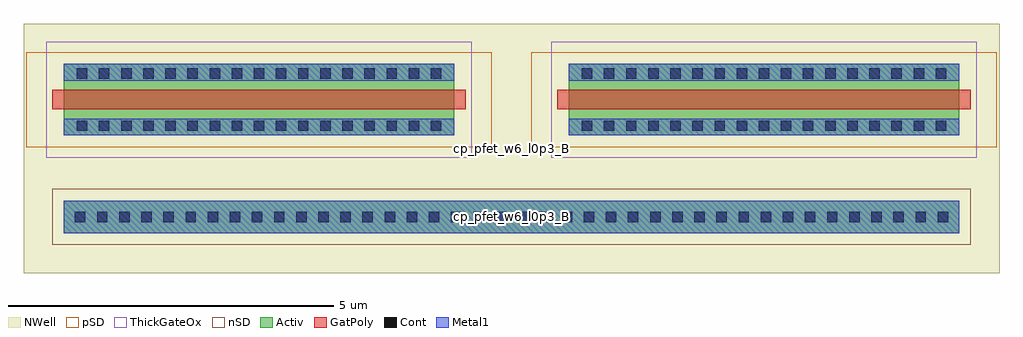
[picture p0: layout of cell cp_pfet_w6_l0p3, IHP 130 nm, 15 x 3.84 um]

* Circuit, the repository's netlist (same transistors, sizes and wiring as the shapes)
* extracted by klt extract --deck sg13cmos5l

* cell cp_pfet_w6_l0p3
* pin VDD
.SUBCKT cp_pfet_w6_l0p3 VDD
* device instance $1 r0 *1 4.3,3.01 pfet
X$1 \$6 \$2 \$3 VDD sg13_hv_pmos L=0.3U W=6U AS=2.4P AD=2.4P PS=12.8U PD=12.8U
* device instance $2 r0 *1 12.26,3.01 pfet
X$2 \$7 \$4 \$5 VDD sg13_hv_pmos L=0.3U W=6U AS=2.4P AD=2.4P PS=12.8U PD=12.8U
.ENDS cp_pfet_w6_l0p3

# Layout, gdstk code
import gdstk
lib = gdstk.Library(unit=1e-6, precision=1e-09)
def R(c, l, rs):  # rectangles x0, y0, x1, y1
    for r in rs: c.add(gdstk.rectangle(r[:2], r[2:], *l))
def A(c, l, x, y, w, h, nx, ny, dx, dy):  # array of equal rectangles
    R(c, l, [(x+i*dx, y+j*dy, x+i*dx+w, y+j*dy+h) for i in range(nx) for j in range(ny)])
Activ = (1, 0)
GatPoly = (5, 0)
Cont = (6, 0)
nSD = (7, 0)
Metal1 = (8, 0)
pSD = (14, 0)
NWell = (31, 0)
ThickGateOx = (44, 0)

cp_pfet_w6_l0p3 = lib.new_cell('cp_pfet_w6_l0p3')
R(cp_pfet_w6_l0p3, Activ, [(1.2,0.96,14.96,1.46), (1.2,2.46,7.2,3.56), (8.96,2.46,14.96,3.56)])
R(cp_pfet_w6_l0p3, GatPoly, [(1.02,2.86,7.38,3.16), (8.78,2.86,15.14,3.16)])
A(cp_pfet_w6_l0p3, Cont, 1.37, 1.13, 0.16, 0.16, 40, 1, 0.34, 0)
A(cp_pfet_w6_l0p3, Cont, 1.4, 2.53, 0.16, 0.16, 17, 2, 0.34, 0.8)
A(cp_pfet_w6_l0p3, Cont, 9.16, 2.53, 0.16, 0.16, 17, 2, 0.34, 0.8)
R(cp_pfet_w6_l0p3, nSD, [(1.02,0.78,15.14,1.64)])
R(cp_pfet_w6_l0p3, Metal1, [(1.2,0.96,14.96,1.46), (1.2,2.46,7.2,2.72), (8.96,2.46,14.96,2.72), (1.2,3.3,7.2,3.56), (8.96,3.3,14.96,3.56)])
R(cp_pfet_w6_l0p3, pSD, [(0.62,2.28,7.78,3.74), (8.38,2.28,15.54,3.74)])
R(cp_pfet_w6_l0p3, NWell, [(0.58,0.34,15.58,4.18)])
R(cp_pfet_w6_l0p3, ThickGateOx, [(0.93,2.12,7.47,3.9), (8.69,2.12,15.23,3.9)])
cp_pfet_w6_l0p3.add(gdstk.Label('cp_pfet_w6_l0p3_B', (8.08,1.21), layer=8, texttype=2))
cp_pfet_w6_l0p3.add(gdstk.Label('cp_pfet_w6_l0p3_B', (8.08,2.26), layer=31, texttype=2))

lib.write_gds('cp_pfet_w6_l0p3.gds')
